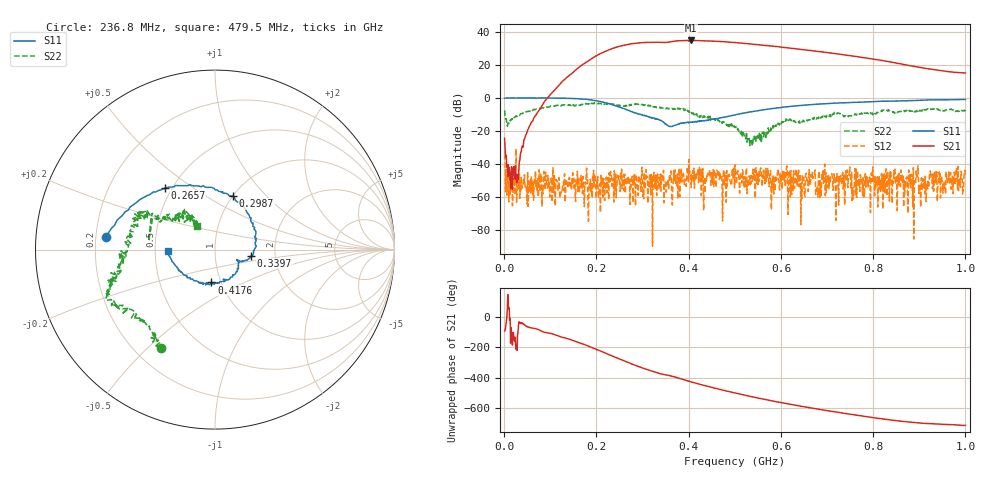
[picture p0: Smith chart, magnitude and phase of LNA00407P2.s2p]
! Created with skrf 1.9.0 (http://scikit-rf.org).
# Hz S RI R 50.0
!freq ReS11 ImS11 ReS21 ImS21 ReS12 ImS12 ReS22 ImS22
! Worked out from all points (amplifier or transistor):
!   1001 points, 1 MHz to 1 GHz, reference 50 ohm
!   highest |S21| = 35.0 dB at 404.6 MHz (marker M1)
!   |S21| within 3 dB of that: 258.5 MHz to 566.4 MHz (307.9 MHz wide, 74.7 % of centre) (the widest 1 of 2)
!   unconditionally stable (mu >= 1): 28.63 MHz to 62.77 MHz; 209.9 MHz to 400.6 MHz; 400.6 MHz to end of sweep (the widest 3 of 32)
!   at 166.8 MHz: K = 0.36, MSG = 33.4 dB, |S12| = -47.1 dB
!   at 500.5 MHz: K = 1.25, MAG = 34.3 dB, |S12| = -40.7 dB
!   at 1 GHz: K = 2.95, MAG = 23.5 dB, |S12| = -46.9 dB
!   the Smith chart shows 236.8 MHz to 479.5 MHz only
!   S11 on the Smith chart (normalised r, x): 236.8 MHz: 0.24, +0.05; 265.7 MHz: 0.46, +0.39; 298.7 MHz: 1.00, +0.67; 339.7 MHz: 1.50, -0.10; 417.6 MHz: 0.90, -0.34; 479.5 MHz: 0.58, -0.01
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1000000  0.991 0.00884  -0.00367 -0.0586  -0.0195 0.00362  0.2543 0.3355
1.09891e8  0.5109 -0.8538  -0.8408 -1.558  0.00051 -0.00128  0.4539 -0.3658
1.67833e8  -0.2336 -0.8998  -9.844 -0.6758  0.00031 -0.00188  0.0508 -0.6377
2.07793e8  -0.6638 -0.4152  -15.99 15.22  0.00182 -0.00167  -0.188 -0.6535
2.36764e8  -0.6069 0.0678  -5.098 32.45  0.00337 -0.000989  -0.3 -0.5472
2.65735e8  -0.2792 0.3429  19.03 36.98  -0.00358 0.00158  -0.4441 -0.376
2.98702e8  0.1019 0.2996  43.25 20.77  -0.00343 0.00705  -0.6018 -0.2289
3.17683e8  0.2061 0.1471  49.33 4.758  0.00111 -0.00016  -0.54 -0.1593
3.34666e8  0.2225 0.00674  48.7 -8.886  -0.00274 0.000588  -0.5259 -0.0375
3.39661e8  0.202 -0.0331  47.49 -12.01  0.000718 0.00128  -0.5241 -0.00703
3.72628e8  0.1317 -0.0768  43.3 -33.06  0.000743 0.0031  -0.4422 0.1659
4.04596e8  0.0439 -0.1773  22.35 -51.65  0.00342 0.00322  -0.3248 0.1698
4.17583e8  -0.0201 -0.1827  12 -54.46  0.00424 -0.00169  -0.2677 0.1958
4.45555e8  -0.1568 -0.1484  -9.083 -53.43  0.0053 0.00331  -0.1658 0.1838
4.79521e8  -0.2641 -0.0086  -29.49 -41.85  0.0034 0.000797  -0.1012 0.1322
5.005e8  -0.2825 0.1095  -37.42 -31.4  0.00524 -0.00757  -0.0966 0.0832
5.4046e8  -0.233 0.3179  -42.18 -10.01  0.0038 -0.0005  -0.0589 0.0128
5.88412e8  -0.0442 0.489  -35.56 10.43  0.00345 -0.00253  -0.1176 -0.091
6.67333e8  0.3282 0.5384  -14.03 23.41  -0.00169 -0.00308  -0.2228 -0.068
7.53247e8  0.6292 0.3739  3.529 18.74  0.00104 -0.00544  -0.2818 -0.00933
8.34166e8  0.7864 0.1507  8.999 8.985  -0.00327 0.00152  -0.41 0.0426
1e9  0.8181 -0.3798  5.727 0.7468  -0.00429 0.00133  -0.1908 0.3503
